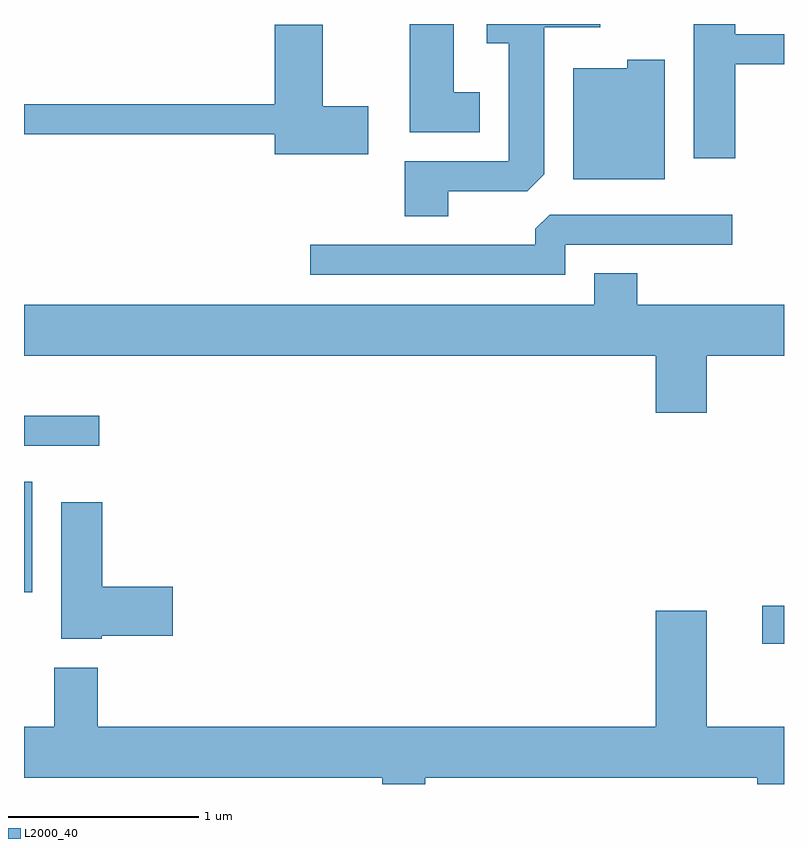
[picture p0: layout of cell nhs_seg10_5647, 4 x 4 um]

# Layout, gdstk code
import gdstk
lib = gdstk.Library(unit=1e-6, precision=1e-09)
def R(c, l, rs):  # rectangles x0, y0, x1, y1
    for r in rs: c.add(gdstk.rectangle(r[:2], r[2:], *l))
def P(c, l, *ps):  # polygons
    for p in ps: c.add(gdstk.Polygon(p, *l))
L2000_40 = (2000, 40)

nhs_seg10_5647 = lib.new_cell('nhs_seg10_5647')
R(nhs_seg10_5647, L2000_40, [(355.496,2141.261,355.611,2141.459), (351.611,2141.531,351.654,2142.114), (351.611,2142.301,352.008,2142.459)])
P(nhs_seg10_5647, L2000_40, [(355.354,2144.311),(355.611,2144.311),(355.611,2144.469),(355.354,2144.469),(355.354,2144.522),(355.136,2144.522),(355.136,2143.816),(355.354,2143.816)],
  [(354.009,2144.164),(353.874,2144.164),(353.874,2144.522),(353.641,2144.522),(353.641,2143.951),(354.009,2143.951)],
  [(353.844,2143.641),(354.259,2143.641),(354.349,2143.732),(354.349,2144.506),(354.644,2144.506),(354.644,2144.522),(354.046,2144.522),(354.046,2144.421),(354.161,2144.421),(354.161,2143.799),(353.616,2143.799),(353.616,2143.511),(353.844,2143.511)],
  [(353.424,2144.089),(353.184,2144.089),(353.184,2144.519),(352.931,2144.519),(352.931,2144.099),(351.611,2144.099),(351.611,2143.941),(352.931,2143.941),(352.931,2143.836),(353.424,2143.836)],
  [(354.984,2144.334),(354.786,2144.334),(354.786,2144.289),(354.501,2144.289),(354.501,2143.706),(354.984,2143.706)],
  [(354.459,2143.361),(355.338,2143.361),(355.338,2143.519),(354.377,2143.519),(354.301,2143.444),(354.301,2143.359),(353.118,2143.359),(353.118,2143.201),(354.459,2143.201)],
  [(355.204,2142.776),(355.611,2142.776),(355.611,2143.044),(354.839,2143.044),(354.839,2143.209),(354.611,2143.209),(354.611,2143.044),(351.611,2143.044),(351.611,2142.776),(354.936,2142.776),(354.936,2142.476),(355.204,2142.476)],
  [(352.02,2141.301),(352.394,2141.301),(352.394,2141.559),(352.024,2141.559),(352.024,2142.004),(351.806,2142.004),(351.806,2141.286),(352.02,2141.286)],
  [(353.724,2140.556),(355.471,2140.556),(355.471,2140.522),(355.611,2140.522),(355.611,2140.824),(355.204,2140.824),(355.204,2141.434),(354.936,2141.434),(354.936,2140.824),(351.999,2140.824),(351.999,2141.134),(351.771,2141.134),(351.771,2140.824),(351.611,2140.824),(351.611,2140.556),(353.496,2140.556),(353.496,2140.522),(353.724,2140.522)])

lib.write_gds('nhs_seg10_5647.gds')
